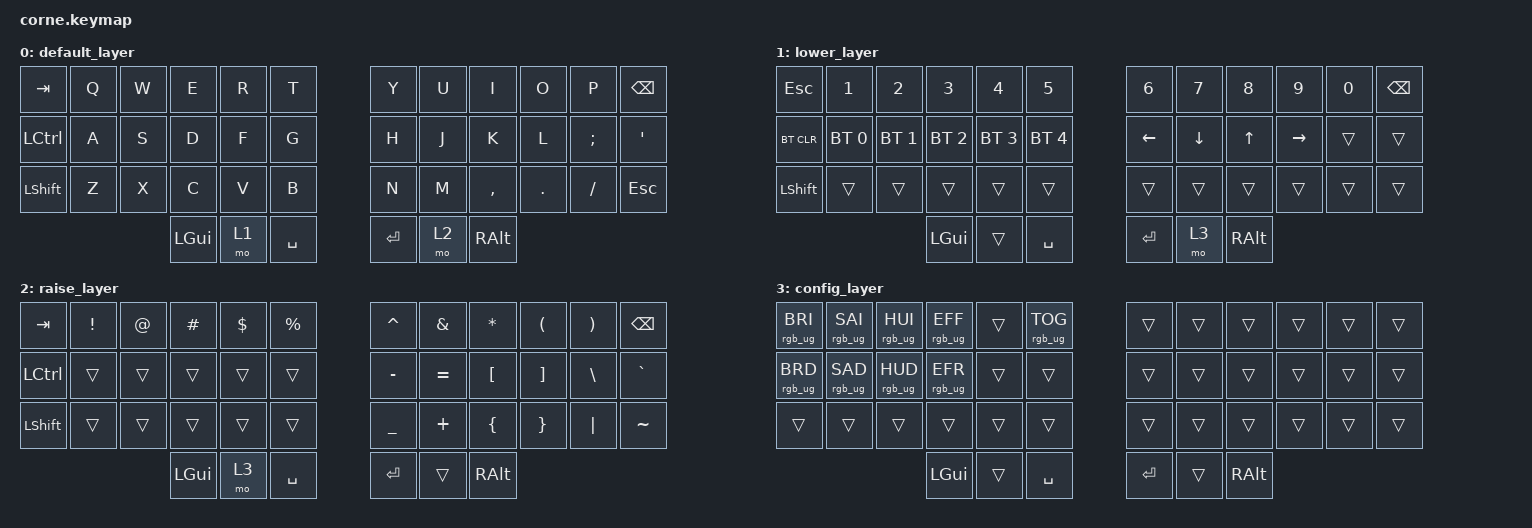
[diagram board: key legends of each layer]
/*
 * Copyright (c) 2020 The ZMK Contributors
 *
 * SPDX-License-Identifier: MIT
 */

#include <behaviors.dtsi>
#include <dt-bindings/zmk/keys.h>
#include <dt-bindings/zmk/bt.h>
#include <dt-bindings/zmk/rgb.h>

&led_strip {
    chain-length = <27>;
};


/ {
        keymap {
                compatible = "zmk,keymap";

                default_layer {
// -----------------------------------------------------------------------------------------
// |  TAB |  Q  |  W  |  E  |  R  |  T  |   |  Y  |  U   |  I  |  O  |  P  | BSPC |
// | CTRL |  A  |  S  |  D  |  F  |  G  |   |  H  |  J   |  K  |  L  |  ;  |  '   |
// | SHFT |  Z  |  X  |  C  |  V  |  B  |   |  N  |  M   |  ,  |  .  |  /  | ESC  |
//                    | GUI | LWR | SPC |   | ENT | RSE  | ALT |
                        bindings = <
   &kp TAB   &kp Q &kp W &kp E &kp R &kp T   &kp Y &kp U  &kp I     &kp O   &kp P    &kp BSPC
   &kp LCTRL &kp A &kp S &kp D &kp F &kp G   &kp H &kp J  &kp K     &kp L   &kp SEMI &kp SQT
   &kp LSHFT &kp Z &kp X &kp C &kp V &kp B   &kp N &kp M  &kp COMMA &kp DOT &kp FSLH &kp ESC
                  &kp LGUI &mo 1 &kp SPACE   &kp RET &mo 2 &kp RALT
                        >;
                };
                lower_layer {
// -----------------------------------------------------------------------------------------
// |  ESC |  1  |  2  |  3  |  4  |  5  |   |  6  |  7  |  8  |  9  |  0  | BSPC |
// | BTCLR| BT1 | BT2 | BT3 | BT4 | BT5 |   | LFT | DWN |  UP | RGT |     |      |
// | SHFT |     |     |     |     |     |   |     |     |     |     |     |      |
//                    | GUI |     | SPC |   | ENT | CFG  | ALT |
                        bindings = <
   &kp ESC    &kp N1       &kp N2       &kp N3       &kp N4       &kp N5         &kp N6   &kp N7   &kp N8 &kp N9    &kp N0 &kp BSPC
   &bt BT_CLR &bt BT_SEL 0 &bt BT_SEL 1 &bt BT_SEL 2 &bt BT_SEL 3 &bt BT_SEL 4   &kp LEFT &kp DOWN &kp UP &kp RIGHT &trans &trans
   &kp LSHFT  &trans       &trans       &trans       &trans       &trans         &trans   &trans   &trans &trans    &trans &trans
                                    &kp LGUI     &trans       &kp SPACE      &kp RET  &mo 3   &kp RALT
                        >;
                };

                raise_layer {
// -----------------------------------------------------------------------------------------
// |  TAB |  !  |  @  |  #  |  $  |  %  |   |  ^  |  &  |  *  |  (  |  )  | BSPC |
// | CTRL |     |     |     |     |     |   |  -  |  =  |  [  |  ]  |  \  |  `   |
// | SHFT |     |     |     |     |     |   |  _  |  +  |  {  |  }  | "|" |  ~   |
//                    | GUI | CFG | SPC |   | ENT |     | ALT |
                        bindings = <
   &kp  TAB  &kp EXCL &kp AT &kp HASH &kp DLLR &kp PRCNT   &kp CARET &kp AMPS  &kp ASTRK &kp LPAR &kp RPAR &kp BSPC
   &kp LCTRL &trans   &trans &trans   &trans   &trans      &kp MINUS &kp EQUAL &kp LBKT  &kp RBKT &kp BSLH &kp GRAVE
   &kp LSHFT &trans   &trans &trans   &trans   &trans      &kp UNDER &kp PLUS  &kp LBRC  &kp RBRC &kp PIPE &kp TILDE
                             &kp LGUI &mo 3   &kp SPACE   &kp RET   &trans    &kp RALT
                        >;
                };

                config_layer {
// -----------------------------------------------------------------------------------------
// | RGB_BRI+ | RGB_SAT+ | RGB_HUE+ | RGB_ANI+ |    | RGB_TOG |   |    |    |    |    |    |     |
// | RGB_BRI- | RGB_SAT- | RGB_HUE- | RGB_ANI- |    |         |   |    |    |    |    |    |     |
// |          |          |          |          |    |         |   |    |    |    |    |    |     |
//                    | GUI |     | SPC |   | ENT |     | ALT |
                        bindings = <
   &rgb_ug RGB_BRI  &rgb_ug RGB_SAI  &rgb_ug RGB_HUI  &rgb_ug RGB_EFF  &trans &rgb_ug RGB_TOG  &trans &trans  &trans &trans &trans &trans
   &rgb_ug RGB_BRD  &rgb_ug RGB_SAD   &rgb_ug RGB_HUD  &rgb_ug RGB_EFR  &trans   &trans      &trans &trans &trans  &trans &trans &trans
   &trans &trans   &trans &trans   &trans   &trans      &trans &trans  &trans  &trans &trans &trans
                             &kp LGUI &trans   &kp SPACE   &kp RET   &trans    &kp RALT
                        >;
                };
        };
};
